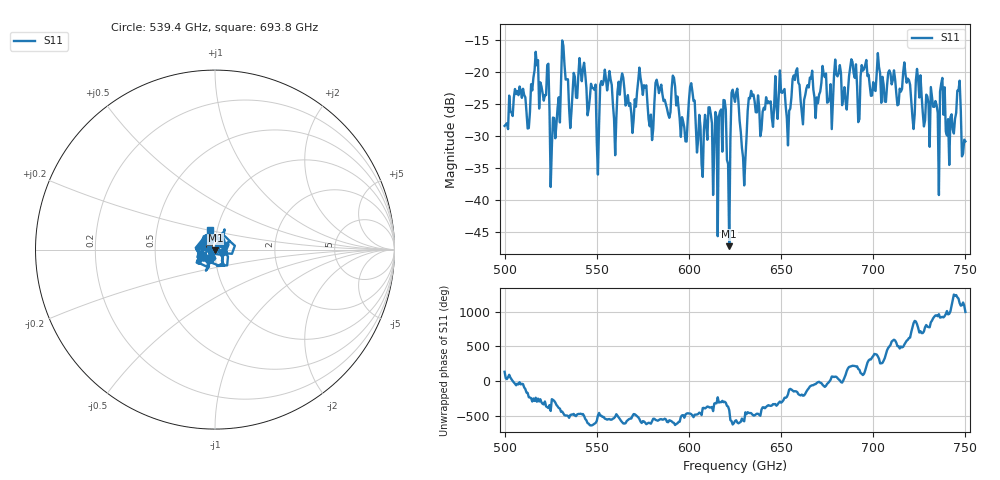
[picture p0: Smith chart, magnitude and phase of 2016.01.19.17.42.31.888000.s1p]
!Created with skrf (http://scikit-rf.org).
# GHz S RI R 50.0
!freq ReS11 ImS11
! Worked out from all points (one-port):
!   401 points, 500 GHz to 750 GHz, reference 50 ohm
!   lowest |S11| = -47.2 dB at 621.9 GHz (marker M1), VSWR 1.01, Z = 50.2 - j0.372 ohm
!   |S11| at or under -10 dB: start of sweep to end of sweep
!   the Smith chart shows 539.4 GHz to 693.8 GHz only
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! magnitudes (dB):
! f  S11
! 500 GHz  -28.4
! 512.5 GHz  -28.8
! 516.9 GHz  -16.9
! 526.2 GHz  -27.1
! 531.2 GHz  -15.1
! 535.6 GHz  -28.8
! 541.9 GHz  -21.5
! 550 GHz  -30.9
! 553.1 GHz  -22.1
! 560 GHz  -33.0
! 562.5 GHz  -23.6
! 579.4 GHz  -26.7
! 593.8 GHz  -23.9
! 611.2 GHz  -25.5
! 614.4 GHz  -26.3
! 618.8 GHz  -24.4
! 621.9 GHz  -47.2
! 625 GHz  -24.7
! 630 GHz  -37.7
! 633.8 GHz  -23.0
! 656.2 GHz  -21.1
! 687.5 GHz  -19.4
! 718.8 GHz  -21.1
! 734.4 GHz  -25.2
! 737.5 GHz  -21.0
! 740.6 GHz  -27.4
! 746.2 GHz  -22.9
! 750 GHz  -30.9
